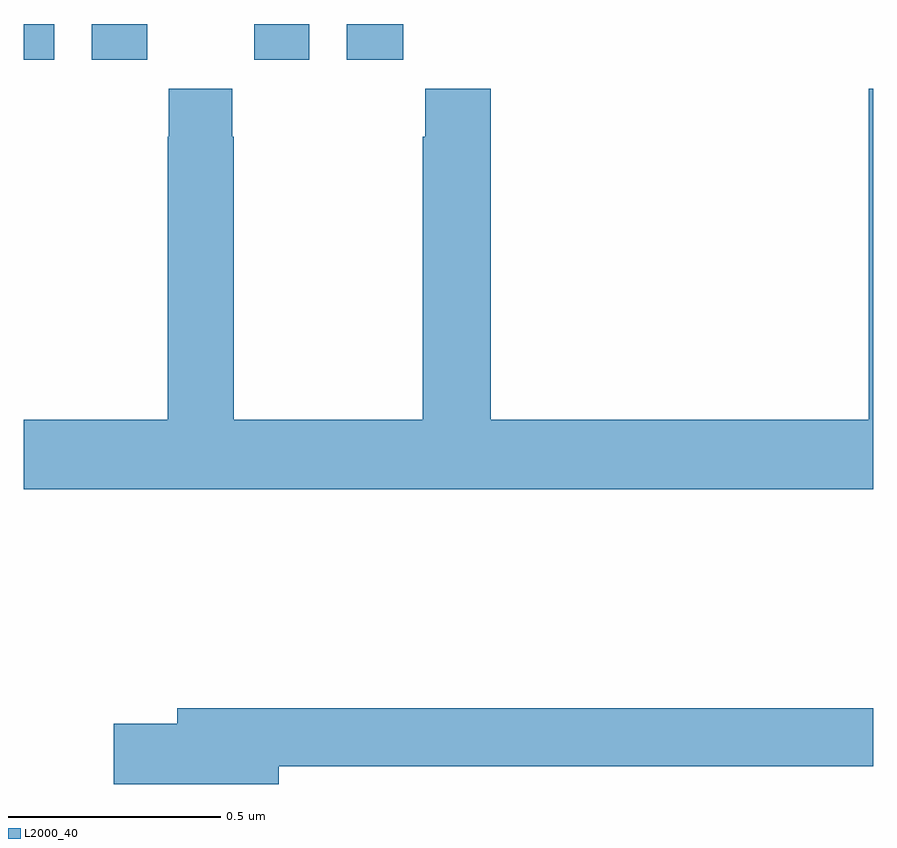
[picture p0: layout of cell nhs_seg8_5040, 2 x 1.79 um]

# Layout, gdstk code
import gdstk
lib = gdstk.Library(unit=1e-6, precision=1e-09)
def R(c, l, rs):  # rectangles x0, y0, x1, y1
    for r in rs: c.add(gdstk.rectangle(r[:2], r[2:], *l))
def P(c, l, *ps):  # polygons
    for p in ps: c.add(gdstk.Polygon(p, *l))
L2000_40 = (2000, 40)

nhs_seg8_5040 = lib.new_cell('nhs_seg8_5040')
R(nhs_seg8_5040, L2000_40, [(178,1146.816,178.072,1146.9), (178.16,1146.816,178.29,1146.9), (178.542,1146.816,178.672,1146.9), (178.76,1146.816,178.894,1146.9)])
P(nhs_seg8_5040, L2000_40, [(180,1146.748),(179.99,1146.748),(179.99,1145.968),(179.099,1145.968),(179.099,1146.748),(178.945,1146.748),(178.945,1146.635),(178.939,1146.635),(178.939,1145.968),(178.494,1145.968),(178.494,1146.635),(178.491,1146.635),(178.491,1146.748),(178.341,1146.748),(178.341,1146.635),(178.339,1146.635),(178.339,1145.968),(178,1145.968),(178,1145.804),(180,1145.804)],
  [(178.6,1145.152),(180,1145.152),(180,1145.288),(178.361,1145.288),(178.361,1145.252),(178.212,1145.252),(178.212,1145.11),(178.6,1145.11)])

lib.write_gds('nhs_seg8_5040.gds')
